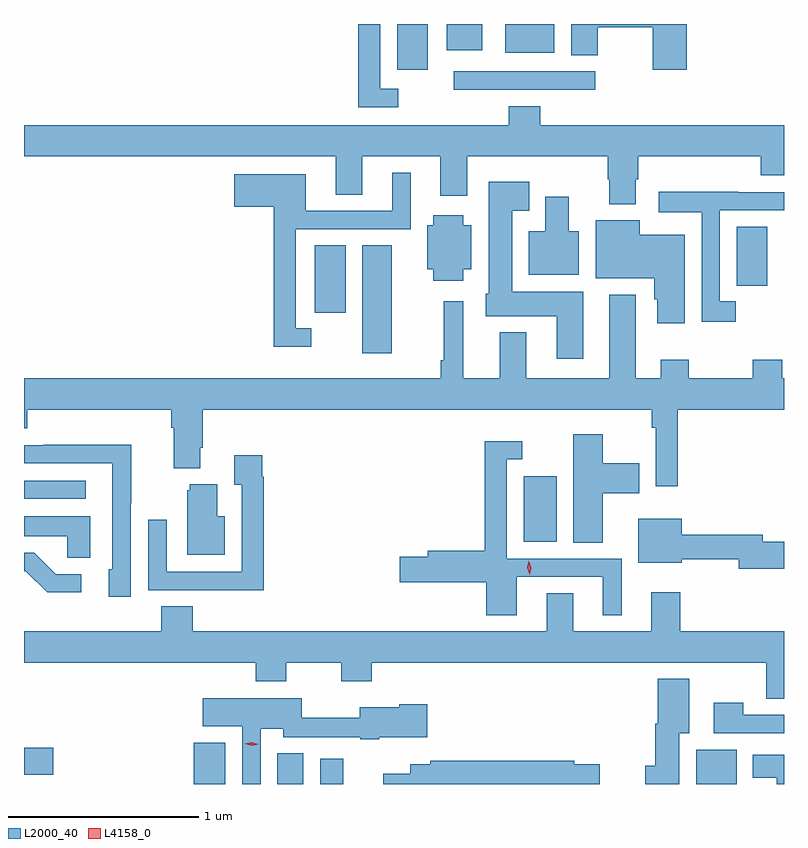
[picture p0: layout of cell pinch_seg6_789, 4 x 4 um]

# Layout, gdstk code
import gdstk
lib = gdstk.Library(unit=1e-6, precision=1e-09)
def R(c, l, rs):  # rectangles x0, y0, x1, y1
    for r in rs: c.add(gdstk.rectangle(r[:2], r[2:], *l))
def P(c, l, *ps):  # polygons
    for p in ps: c.add(gdstk.Polygon(p, *l))
L2000_40 = (2000, 40)
L4158_0 = (4158, 0)

pinch_seg6_789 = lib.new_cell('pinch_seg6_789')
R(pinch_seg6_789, L2000_40, [(194,965.345,194.167,965.563), (194.441,965.345,194.578,965.507), (194.666,965.345,194.788,965.479), (196.646,965.345,196.858,965.524), (193.107,965.393,193.261,965.535), (195.737,966.62,195.91,966.964), (193.107,966.846,193.432,966.942), (194.888,967.611,195.043,968.18), (194.636,967.824,194.8,968.18), (196.859,967.968,197.02,968.279), (195.369,969,196.114,969.096), (195.071,969.105,195.232,969.345), (195.641,969.194,195.898,969.345), (195.332,969.206,195.52,969.345)])
P(pinch_seg6_789, L2000_40, [(195.076,969.003),(194.982,969.003),(194.982,969.345),(194.866,969.345),(194.866,968.907),(195.076,968.907)],
  [(196.595,969.345),(195.986,969.345),(195.986,969.181),(196.128,969.181),(196.128,969.328),(196.417,969.328),(196.417,969.105),(196.595,969.105)],
  [(196.327,968.528),(196.34,968.528),(196.34,968.648),(196.985,968.648),(196.985,968.549),(197.107,968.549),(197.107,968.812),(195.824,968.812),(195.824,968.911),(195.659,968.911),(195.659,968.812),(193.107,968.812),(193.107,968.648),(194.747,968.648),(194.747,968.446),(194.887,968.446),(194.887,968.648),(195.299,968.648),(195.299,968.442),(195.439,968.442),(195.439,968.648),(196.18,968.648),(196.18,968.528),(196.187,968.528),(196.187,968.396),(196.327,968.396)],
  [(194.62,967.743),(194.538,967.743),(194.538,968.265),(195.142,968.265),(195.142,968.563),(195.044,968.563),(195.044,968.361),(194.59,968.361),(194.59,968.554),(194.214,968.554),(194.214,968.384),(194.422,968.384),(194.422,967.646),(194.62,967.646)],
  [(196.051,967.936),(195.676,967.936),(195.676,968.363),(195.766,968.363),(195.766,968.515),(195.554,968.515),(195.554,967.926),(195.536,967.926),(195.536,967.808),(195.911,967.808),(195.911,967.584),(196.051,967.584)],
  [(196.852,967.887),(196.77,967.887),(196.77,968.364),(197.107,968.364),(197.107,968.46),(196.867,968.46),(196.867,968.462),(196.449,968.462),(196.449,968.354),(196.674,968.354),(196.674,967.779),(196.852,967.779)],
  [(196.027,968.254),(195.973,968.254),(195.973,968.437),(195.851,968.437),(195.851,968.254),(195.764,968.254),(195.764,968.024),(196.027,968.024)],
  [(195.418,968.054),(195.46,968.054),(195.46,968.287),(195.418,968.287),(195.418,968.338),(195.26,968.338),(195.26,968.287),(195.23,968.287),(195.23,968.054),(195.26,968.054),(195.26,967.994),(195.418,967.994)],
  [(196.585,968.236),(196.348,968.236),(196.348,968.311),(196.115,968.311),(196.115,968.006),(196.424,968.006),(196.424,967.896),(196.439,967.896),(196.439,967.77),(196.585,967.77)],
  [(196.547,967.316),(197.107,967.316),(197.107,967.48),(197.097,967.48),(197.097,967.579),(196.942,967.579),(196.942,967.48),(196.605,967.48),(196.605,967.579),(196.457,967.579),(196.457,967.48),(196.327,967.48),(196.327,967.921),(196.187,967.921),(196.187,967.48),(195.751,967.48),(195.751,967.723),(195.611,967.723),(195.611,967.48),(195.419,967.48),(195.419,967.885),(195.316,967.885),(195.316,967.576),(195.301,967.576),(195.301,967.48),(193.107,967.48),(193.107,967.217),(193.124,967.217),(193.124,967.316),(193.883,967.316),(193.883,967.22),(193.895,967.22),(193.895,967.007),(194.035,967.007),(194.035,967.114),(194.048,967.114),(194.048,967.316),(196.411,967.316),(196.411,967.22),(196.431,967.22),(196.431,966.912),(196.547,966.912)],
  [(196.153,966.875),(196.346,966.875),(196.346,967.033),(196.153,967.033),(196.153,967.186),(195.998,967.186),(195.998,966.616),(196.153,966.616)],
  [(195.7,966.435),(196.154,966.435),(196.154,966.234),(196.252,966.234),(196.252,966.531),(195.648,966.531),(195.648,967.053),(195.73,967.053),(195.73,967.15),(195.532,967.15),(195.532,966.572),(195.233,966.572),(195.233,966.542),(195.084,966.542),(195.084,966.407),(195.539,966.407),(195.539,966.234),(195.7,966.234)],
  [(193.668,966.823),(193.671,966.823),(193.671,967.13),(193.207,967.13),(193.207,967.128),(193.107,967.128),(193.107,967.032),(193.572,967.032),(193.572,966.474),(193.553,966.474),(193.553,966.33),(193.668,966.33)],
  [(194.369,966.962),(194.362,966.962),(194.362,967.075),(194.213,967.075),(194.213,966.919),(194.253,966.919),(194.253,966.462),(193.857,966.462),(193.857,966.736),(193.761,966.736),(193.761,966.366),(194.077,966.366),(194.077,966.365),(194.369,966.365)],
  [(194.164,966.754),(194.125,966.754),(194.125,966.922),(193.979,966.922),(193.979,966.891),(193.967,966.891),(193.967,966.551),(194.164,966.551)],
  [(193.456,966.754),(193.107,966.754),(193.107,966.65),(193.335,966.65),(193.335,966.535),(193.456,966.535)],
  [(197.107,966.62),(196.996,966.62),(196.996,966.656),(196.57,966.656),(196.57,966.742),(196.34,966.742),(196.34,966.509),(196.57,966.509),(196.57,966.528),(196.868,966.528),(196.868,966.478),(197.107,966.478)],
  [(193.408,966.45),(193.273,966.45),(193.162,966.561),(193.107,966.561),(193.107,966.465),(193.116,966.465),(193.229,966.353),(193.408,966.353)],
  [(197.107,966.148),(196.562,966.148),(196.562,966.355),(196.409,966.355),(196.409,966.148),(195.997,966.148),(195.997,966.35),(195.857,966.35),(195.857,966.148),(193.994,966.148),(193.994,966.281),(193.829,966.281),(193.829,966.148),(193.107,966.148),(193.107,965.984),(194.327,965.984),(194.327,965.885),(194.487,965.885),(194.487,965.984),(194.776,965.984),(194.776,965.885),(194.936,965.885),(194.936,965.984),(197.014,965.984),(197.014,965.794),(197.107,965.794)],
  [(196.555,965.612),(196.609,965.612),(196.609,965.899),(196.442,965.899),(196.442,965.661),(196.43,965.661),(196.43,965.44),(196.376,965.44),(196.376,965.345),(196.555,965.345)],
  [(194.352,965.636),(194.472,965.636),(194.472,965.592),(194.877,965.592),(194.877,965.58),(194.977,965.58),(194.977,965.591),(195.23,965.591),(195.23,965.764),(195.081,965.764),(195.081,965.749),(194.873,965.749),(194.873,965.693),(194.568,965.693),(194.568,965.797),(194.049,965.797),(194.049,965.648),(194.256,965.648),(194.256,965.345),(194.352,965.345)],
  [(197.107,965.709),(196.893,965.709),(196.893,965.773),(196.737,965.773),(196.737,965.613),(197.107,965.613)],
  [(197.107,965.5),(196.943,965.5),(196.943,965.378),(197.069,965.378),(197.069,965.345),(197.107,965.345)],
  [(196.138,965.448),(196.004,965.448),(196.004,965.468),(195.244,965.468),(195.244,965.449),(195.141,965.449),(195.141,965.398),(194.999,965.398),(194.999,965.345),(196.138,965.345)])
P(pinch_seg6_789, L4158_0, [(195.768,966.447),(195.768,966.448),(195.756,966.482),(195.764,966.518),(195.764,966.519),(195.764,966.518),(195.776,966.484),(195.768,966.448)],
  [(194.305,965.546),(194.27,965.556),(194.27,965.556),(194.27,965.556),(194.305,965.565),(194.34,965.555),(194.34,965.555),(194.34,965.555)])

lib.write_gds('pinch_seg6_789.gds')
